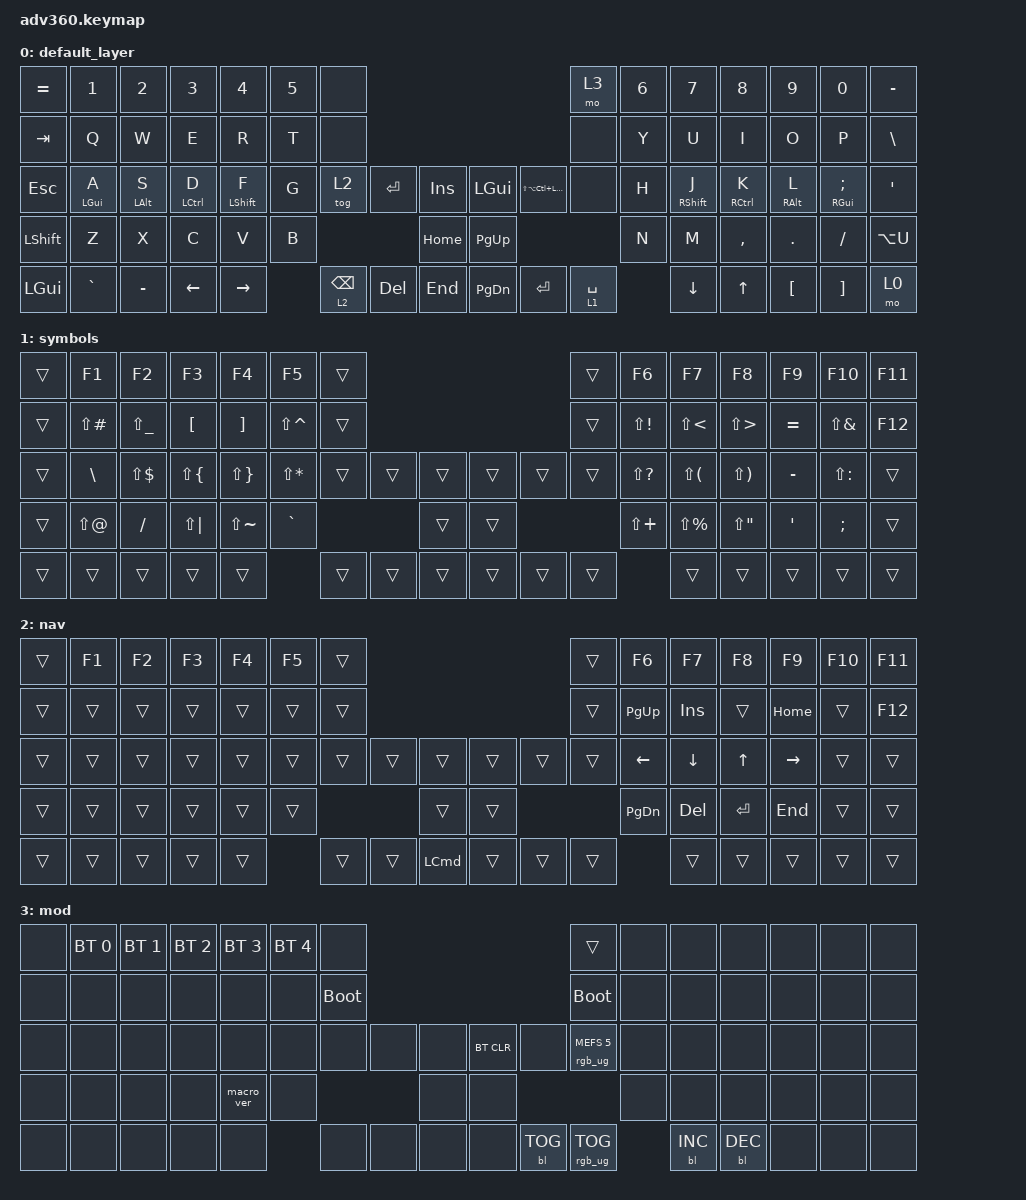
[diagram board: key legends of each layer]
#include <behaviors.dtsi>
#include <dt-bindings/zmk/backlight.h>
#include <dt-bindings/zmk/bt.h>
#include <dt-bindings/zmk/keys.h>
#include <dt-bindings/zmk/rgb.h>

/ {
    behaviors {
        #include "macros.dtsi"
      #include "version.dtsi"
      #ifndef VERSION_MACRO


        #endif

        hrml: hrml {
            compatible = "zmk,behavior-hold-tap";
            label = "Home Row Mod Left";
            bindings = <&kp>, <&kp>;

            #binding-cells = <2>;
            flavor = "balanced";
            hold-trigger-key-positions = <7 8 9 10 11 12 13 21 22 23 24 25 26 27 38 39 40 41 42 43 44 45 54 55 56 57 58 59 69 70 71 72 73 74 75 37 38 53 68 69>;
            tapping-term-ms = <280>;
            quick-tap-ms = <175>;
            require-prior-idle-ms = <150>;
            hold-trigger-on-release;
        };

        hrmr: hrmr {
            compatible = "zmk,behavior-hold-tap";
            label = "Home Row Mod Right";
            bindings = <&kp>, <&kp>;

            #binding-cells = <2>;
            tapping-term-ms = <280>;
            quick-tap-ms = <175>;
            require-prior-idle-ms = <150>;
            flavor = "balanced";
            hold-trigger-on-release;
            hold-trigger-key-positions = <0 1 2 3 4 5 6 14 15 16 17 18 19 20 28 29 30 31 32 33 34 35 36 46 47 48 49 50 51 52 60 61 62 63 64 65 66 67>;
        };
    };

    keymap {
        compatible = "zmk,keymap";

        default_layer {
            bindings = <
&kp EQUAL     &kp N1            &kp N2            &kp N3         &kp N4              &kp N5  &none                                                                          &mo 3        &kp N6  &kp N7               &kp N8         &kp N9             &kp N0                &kp MINUS
&kp TAB       &kp Q             &kp W             &kp E          &kp R               &kp T   &none                                                                          &none        &kp Y   &kp U                &kp I          &kp O              &kp P                 &kp BSLH
&kp ESC       &hrml LEFT_GUI A  &hrml LEFT_ALT S  &hrml LCTRL D  &hrml LEFT_SHIFT F  &kp G   &tog 2           &kp ENTER  &kp INS       &kp LGUI   &kp LS(LA(LC(LEFT_GUI)))  &none        &kp H   &hrmr RIGHT_SHIFT J  &hrmr RCTRL K  &hrmr RIGHT_ALT L  &hrmr RIGHT_GUI SEMI  &kp SQT
&kp LSHFT     &kp Z             &kp X             &kp C          &kp V               &kp B                               &kp HOME      &kp PG_UP                                         &kp N   &kp M                &kp COMMA      &kp DOT            &kp FSLH              &kp LA(U)
&kp LEFT_GUI  &kp GRAVE         &kp MINUS         &kp LEFT       &kp RIGHT                   &lt 2 BACKSPACE  &kp DEL    &kp END       &kp PG_DN  &kp ENTER                 &lt 1 SPACE          &kp DOWN             &kp UP         &kp LBKT           &kp RBKT              &mo 0
            >;
        };

        symbols {
            bindings = <
&trans  &kp F1         &kp F2         &kp F3        &kp F4         &kp F5         &trans                                      &trans  &kp F6         &kp F7         &kp F8        &kp F9     &kp F10        &kp F11
&trans  &kp LS(POUND)  &kp LS(UNDER)  &kp LBKT      &kp RBKT       &kp LS(CARET)  &trans                                      &trans  &kp LS(EXCL)   &kp LS(LT)     &kp LS(GT)    &kp EQUAL  &kp LS(AMPS)   &kp F12
&trans  &kp BSLH       &kp LS(DLLR)   &kp LS(LBRC)  &kp LS(RBRC)   &kp LS(STAR)   &trans  &trans  &trans      &trans  &trans  &trans  &kp LS(QMARK)  &kp LS(LPAR)   &kp LS(RPAR)  &kp MINUS  &kp LS(COLON)  &trans
&trans  &kp LS(AT)     &kp FSLH       &kp LS(PIPE)  &kp LS(TILDE)  &kp GRAVE                      &trans      &trans                  &kp LS(PLUS)   &kp LS(PRCNT)  &kp LS(DQT)   &kp SQT    &kp SEMI       &trans
&trans  &trans         &trans         &trans        &trans                        &trans  &trans  &trans      &trans  &trans  &trans                 &trans         &trans        &trans     &trans         &trans
            >;
        };

        nav {
            bindings = <
&trans  &kp F1  &kp F2  &kp F3  &kp F4  &kp F5  &trans                                                &trans  &kp F6     &kp F7      &kp F8     &kp F9     &kp F10  &kp F11
&trans  &trans  &trans  &trans  &trans  &trans  &trans                                                &trans  &kp PG_UP  &kp INSERT  &trans     &kp HOME   &trans   &kp F12
&trans  &trans  &trans  &trans  &trans  &trans  &trans  &trans  &trans                &trans  &trans  &trans  &kp LEFT   &kp DOWN    &kp UP     &kp RIGHT  &trans   &trans
&trans  &trans  &trans  &trans  &trans  &trans                  &trans                &trans                  &kp PG_DN  &kp DEL     &kp ENTER  &kp END    &trans   &trans
&trans  &trans  &trans  &trans  &trans          &trans  &trans  &kp LEFT_COMMAND      &trans  &trans  &trans             &trans      &trans     &trans     &trans   &trans
            >;
        };

        mod {
            bindings = <
&none  &bt BT_SEL 0  &bt BT_SEL 1  &bt BT_SEL 2  &bt BT_SEL 3  &bt BT_SEL 4  &none                                                  &trans                  &none  &none       &none       &none  &none  &none
&none  &none         &none         &none         &none         &none         &bootloader                                            &bootloader             &none  &none       &none       &none  &none  &none
&none  &none         &none         &none         &none         &none         &none        &none  &none      &bt BT_CLR  &none       &rgb_ug RGB_MEFS_CMD 5  &none  &none       &none       &none  &none  &none
&none  &none         &none         &none         &macro_ver    &none                             &none      &none                                           &none  &none       &none       &none  &none  &none
&none  &none         &none         &none         &none                       &none        &none  &none      &none       &bl BL_TOG  &rgb_ug RGB_TOG                &bl BL_INC  &bl BL_DEC  &none  &none  &none
            >;
        };
    };
};
